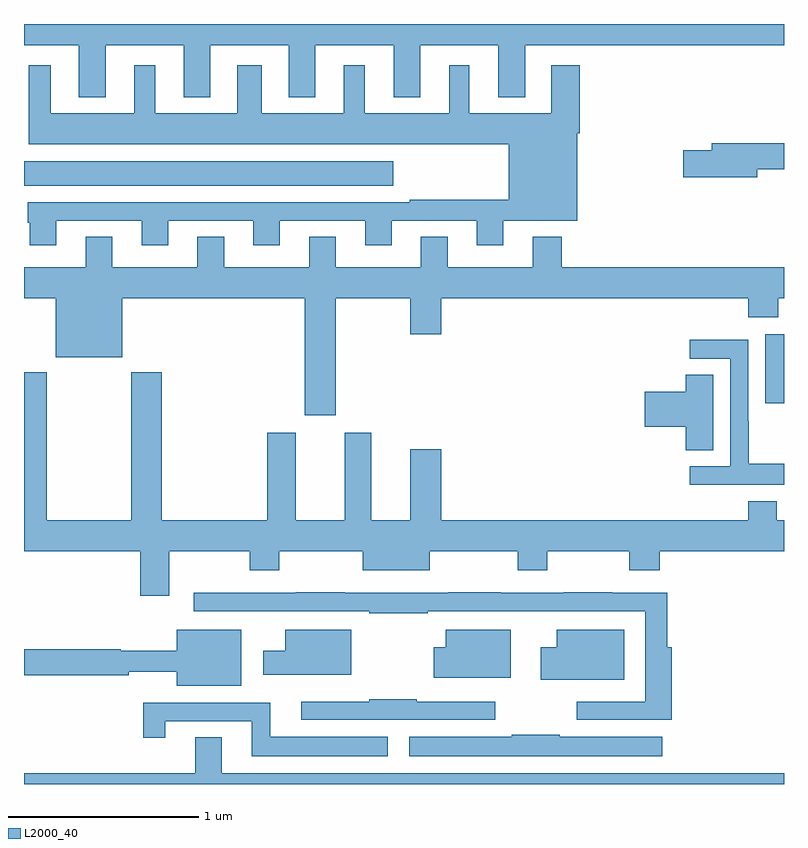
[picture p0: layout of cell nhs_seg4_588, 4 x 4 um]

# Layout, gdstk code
import gdstk
lib = gdstk.Library(unit=1e-6, precision=1e-09)
def R(c, l, rs):  # rectangles x0, y0, x1, y1
    for r in rs: c.add(gdstk.rectangle(r[:2], r[2:], *l))
def P(c, l, *ps):  # polygons
    for p in ps: c.add(gdstk.Polygon(p, *l))
L2000_40 = (2000, 40)

nhs_seg4_588 = lib.new_cell('nhs_seg4_588')
R(nhs_seg4_588, L2000_40, [(142.901,826.905,143,827.266), (139,828.05,140.944,828.178)])
P(nhs_seg4_588, L2000_40, [(139.429,828.788),(139.841,828.788),(139.841,828.515),(139.981,828.515),(139.981,828.788),(140.393,828.788),(140.393,828.515),(140.533,828.515),(140.533,828.788),(140.945,828.788),(140.945,828.515),(141.085,828.515),(141.085,828.788),(141.497,828.788),(141.497,828.515),(141.637,828.515),(141.637,828.788),(143,828.788),(143,828.9),(139,828.9),(139,828.788),(139.289,828.788),(139.289,828.515),(139.429,828.515)],
  [(139.171,827.865),(139.619,827.865),(139.619,827.736),(139.759,827.736),(139.759,827.865),(140.207,827.865),(140.207,827.736),(140.347,827.736),(140.347,827.865),(140.795,827.865),(140.795,827.736),(140.935,827.736),(140.935,827.865),(141.383,827.865),(141.383,827.736),(141.523,827.736),(141.523,827.864),(141.913,827.864),(141.913,828.326),(141.926,828.326),(141.926,828.682),(141.776,828.682),(141.776,828.43),(141.343,828.43),(141.343,828.682),(141.239,828.682),(141.239,828.43),(140.794,828.43),(140.794,828.682),(140.684,828.682),(140.684,828.43),(140.251,828.43),(140.251,828.682),(140.123,828.682),(140.123,828.43),(139.69,828.43),(139.69,828.682),(139.58,828.682),(139.58,828.43),(139.141,828.43),(139.141,828.682),(139.025,828.682),(139.025,828.266),(141.551,828.266),(141.551,827.974),(141.031,827.974),(141.031,827.961),(139.019,827.961),(139.019,827.853),(139.031,827.853),(139.031,827.736),(139.171,827.736)],
  [(142.858,828.136),(143,828.136),(143,828.272),(142.619,828.272),(142.619,828.236),(142.47,828.236),(142.47,828.094),(142.858,828.094)],
  [(140.641,827.456),(141.032,827.456),(141.032,827.268),(141.196,827.268),(141.196,827.456),(142.811,827.456),(142.811,827.357),(142.971,827.357),(142.971,827.456),(143,827.456),(143,827.62),(141.83,827.62),(141.83,827.779),(141.677,827.779),(141.677,827.62),(141.229,827.62),(141.229,827.78),(141.089,827.78),(141.089,827.62),(140.641,827.62),(140.641,827.78),(140.501,827.78),(140.501,827.62),(140.053,827.62),(140.053,827.78),(139.913,827.78),(139.913,827.62),(139.465,827.62),(139.465,827.78),(139.325,827.78),(139.325,827.62),(139,827.62),(139,827.456),(139.166,827.456),(139.166,827.147),(139.516,827.147),(139.516,827.456),(140.477,827.456),(140.477,826.842),(140.641,826.842)],
  [(143,826.585),(142.815,826.585),(142.815,826.808),(142.812,826.808),(142.812,827.238),(142.503,827.238),(142.503,827.139),(142.716,827.139),(142.716,826.572),(142.503,826.572),(142.503,826.476),(143,826.476)],
  [(141.196,826.663),(141.032,826.663),(141.032,826.288),(140.827,826.288),(140.827,826.75),(140.687,826.75),(140.687,826.288),(140.431,826.288),(140.431,826.75),(140.279,826.75),(140.279,826.288),(139.724,826.288),(139.724,827.068),(139.564,827.068),(139.564,826.288),(139.119,826.288),(139.119,827.068),(139,827.068),(139,826.124),(139.613,826.124),(139.613,825.891),(139.765,825.891),(139.765,826.124),(140.188,826.124),(140.188,826.025),(140.343,826.025),(140.343,826.124),(140.783,826.124),(140.783,826.025),(141.136,826.025),(141.136,826.124),(141.598,826.124),(141.598,826.025),(141.753,826.025),(141.753,826.124),(142.186,826.124),(142.186,826.025),(142.346,826.025),(142.346,826.124),(143,826.124),(143,826.288),(142.963,826.288),(142.963,826.387),(142.811,826.387),(142.811,826.288),(141.196,826.288)],
  [(142.627,827.054),(142.484,827.054),(142.484,826.964),(142.266,826.964),(142.266,826.781),(142.484,826.781),(142.484,826.657),(142.627,826.657)],
  [(142.409,825.619),(142.385,825.619),(142.385,825.906),(142.097,825.906),(142.097,825.908),(141.841,825.908),(141.841,825.906),(141.509,825.906),(141.509,825.908),(141.232,825.908),(141.232,825.906),(140.687,825.906),(140.687,825.908),(140.431,825.908),(140.431,825.906),(139.893,825.906),(139.893,825.81),(140.818,825.81),(140.818,825.798),(141.125,825.798),(141.125,825.81),(142.269,825.81),(142.269,825.333),(141.909,825.333),(141.909,825.237),(142.409,825.237)],
  [(141.562,825.712),(141.221,825.712),(141.221,825.619),(141.156,825.619),(141.156,825.458),(141.562,825.458)],
  [(140.143,825.712),(139.805,825.712),(139.805,825.601),(139.509,825.601),(139.509,825.608),(139,825.608),(139,825.472),(139.55,825.472),(139.55,825.491),(139.805,825.491),(139.805,825.416),(140.143,825.416)],
  [(142.159,825.712),(141.803,825.712),(141.803,825.619),(141.719,825.619),(141.719,825.449),(142.159,825.449)],
  [(140.722,825.712),(140.375,825.712),(140.375,825.601),(140.258,825.601),(140.258,825.476),(140.722,825.476)],
  [(141.481,825.333),(141.068,825.333),(141.068,825.346),(140.818,825.346),(140.818,825.334),(140.46,825.334),(140.46,825.237),(141.481,825.237)],
  [(140.914,825.148),(140.296,825.148),(140.296,825.327),(139.627,825.327),(139.627,825.144),(139.744,825.144),(139.744,825.231),(140.198,825.231),(140.198,825.047),(140.914,825.047)],
  [(142.36,825.148),(141.821,825.148),(141.821,825.158),(141.568,825.158),(141.568,825.148),(141.027,825.148),(141.027,825.047),(142.36,825.047)],
  [(143,824.956),(140.041,824.956),(140.041,825.146),(139.901,825.146),(139.901,824.956),(139,824.956),(139,824.9),(143,824.9)])

lib.write_gds('nhs_seg4_588.gds')
